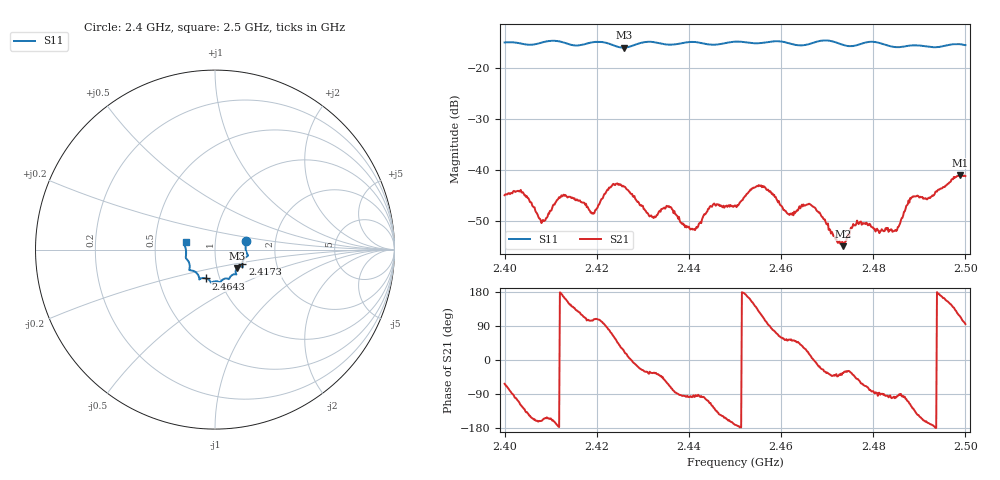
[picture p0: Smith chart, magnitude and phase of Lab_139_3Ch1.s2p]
# Hz S RI R 50
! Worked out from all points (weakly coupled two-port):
!   601 points, 2.4 GHz to 2.5 GHz, reference 50 ohm
!   highest |S21| = -40.97 dB at 2.4988 GHz (marker M1); lowest = -55.0 dB at 2.4735 GHz (marker M2)
!   lowest |S11| = -15.9 dB at 2.4258 GHz (marker M3), VSWR 1.38, Z = 62.3 - j13.2 ohm
!   |S11| at or under -10 dB: start of sweep to end of sweep
!   S12 and S22 are empty: the file has one direction only
!   S11 on the Smith chart (normalised r, x): 2.4 GHz: 1.41, +0.14; 2.4173 GHz: 1.34, -0.23; 2.4643 GHz: 0.86, -0.28; 2.5 GHz: 0.72, +0.06
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2.4e9  0.173 0.0495  0.00259 -0.00502  0 0  0 0
2.403667e9  0.1727 0.0286  -0.00313 -0.00512  0 0  0 0
2.408333e9  0.1795 -0.0234  -0.00297 -0.00125  0 0  0 0
2.412333e9  0.1783 -0.0379  -0.0056 0.000573  0 0  0 0
2.416667e9  0.1528 -0.0744  -0.00237 0.0042  0 0  0 0
2.417333e9  0.1522 -0.0818  -0.00184 0.00436  0 0  0 0
2.419167e9  0.1537 -0.0955  -0.000916 0.00364  0 0  0 0
2.425833e9  0.1217 -0.1036  0.00619 0.00295  0 0  0 0
2.433333e9  0.1131 -0.1372  0.00298 -0.00228  0 0  0 0
2.440833e9  0.0781 -0.1647  -0.00025 -0.00258  0 0  0 0
2.445e9  0.056 -0.1615  -0.00222 -0.00373  0 0  0 0
2.45e9  0.0293 -0.1809  -0.00443 -0.0007  0 0  0 0
2.455167e9  0.000368 -0.1769  -0.00438 0.00558  0 0  0 0
2.461667e9  -0.0281 -0.1747  0.00217 0.00296  0 0  0 0
2.464333e9  -0.0499 -0.1607  0.00337 0.00279  0 0  0 0
2.466667e9  -0.0759 -0.1596  0.00444 0.000404  0 0  0 0
2.4735e9  -0.094 -0.1415  0.00147 -0.001  0 0  0 0
2.476833e9  -0.1249 -0.1169  0.00175 -0.00235  0 0  0 0
2.483333e9  -0.1404 -0.0899  -0.000365 -0.00243  0 0  0 0
2.4885e9  -0.1614 -0.0484  -0.00328 -0.00431  0 0  0 0
2.498833e9  -0.1692 0.0359  -0.00381 0.00809  0 0  0 0
2.5e9  -0.1638 0.0425  -0.000736 0.00867  0 0  0 0
